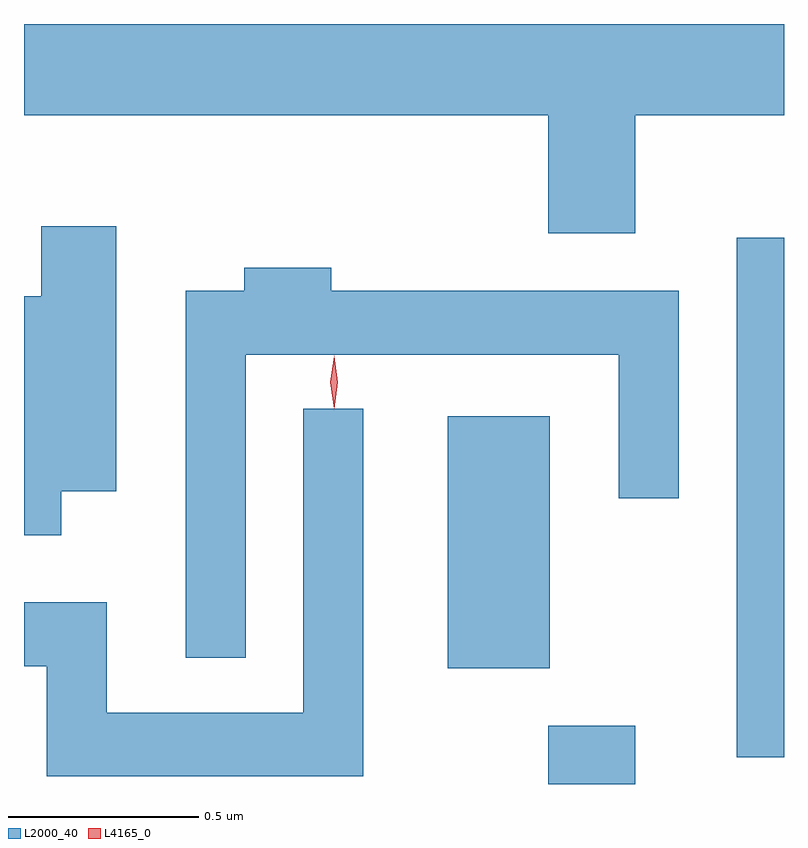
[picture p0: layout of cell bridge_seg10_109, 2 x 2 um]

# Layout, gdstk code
import gdstk
lib = gdstk.Library(unit=1e-6, precision=1e-09)
def R(c, l, rs):  # rectangles x0, y0, x1, y1
    for r in rs: c.add(gdstk.rectangle(r[:2], r[2:], *l))
def P(c, l, *ps):  # polygons
    for p in ps: c.add(gdstk.Polygon(p, *l))
L2000_40 = (2000, 40)
L4165_0 = (4165, 0)

bridge_seg10_109 = lib.new_cell('bridge_seg10_109')
R(bridge_seg10_109, L2000_40, [(1586.001,2189.856,1586.229,2190.009), (1586.496,2189.926,1586.621,2191.293), (1585.736,2190.161,1586.004,2190.824)])
P(bridge_seg10_109, L2000_40, [(1586.229,2191.616),(1586.621,2191.616),(1586.621,2191.856),(1584.621,2191.856),(1584.621,2191.616),(1586.001,2191.616),(1586.001,2191.306),(1586.229,2191.306)],
  [(1584.719,2190.626),(1584.864,2190.626),(1584.864,2191.324),(1584.666,2191.324),(1584.666,2191.139),(1584.621,2191.139),(1584.621,2190.511),(1584.719,2190.511)],
  [(1585.204,2190.986),(1586.186,2190.986),(1586.186,2190.608),(1586.344,2190.608),(1586.344,2191.154),(1585.429,2191.154),(1585.429,2191.214),(1585.201,2191.214),(1585.201,2191.154),(1585.046,2191.154),(1585.046,2190.188),(1585.204,2190.188)],
  [(1585.514,2190.843),(1585.356,2190.843),(1585.356,2190.044),(1584.839,2190.044),(1584.839,2190.334),(1584.621,2190.334),(1584.621,2190.166),(1584.681,2190.166),(1584.681,2189.876),(1585.514,2189.876)])
P(bridge_seg10_109, L4165_0, [(1585.437,2190.843),(1585.437,2190.844),(1585.427,2190.913),(1585.437,2190.982),(1585.437,2190.983),(1585.438,2190.982),(1585.447,2190.913),(1585.438,2190.844)])

lib.write_gds('bridge_seg10_109.gds')
